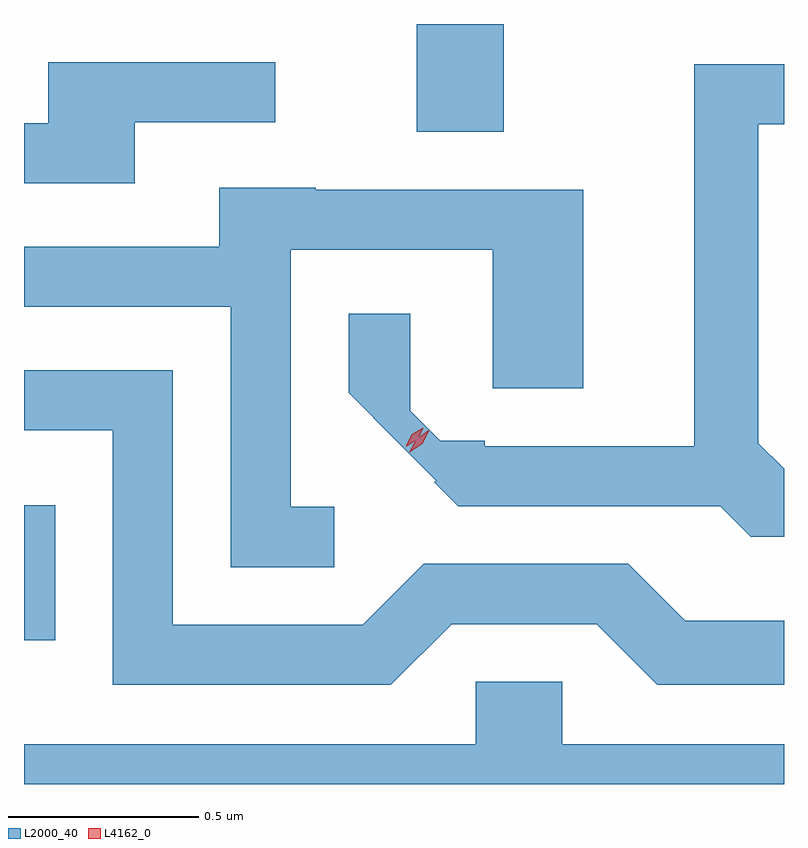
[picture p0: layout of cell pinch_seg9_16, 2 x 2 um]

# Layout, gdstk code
import gdstk
lib = gdstk.Library(unit=1e-6, precision=1e-09)
def R(c, l, rs):  # rectangles x0, y0, x1, y1
    for r in rs: c.add(gdstk.rectangle(r[:2], r[2:], *l))
def P(c, l, *ps):  # polygons
    for p in ps: c.add(gdstk.Polygon(p, *l))
L2000_40 = (2000, 40)
L4162_0 = (4162, 0)

pinch_seg9_16 = lib.new_cell('pinch_seg9_16')
R(pinch_seg9_16, L2000_40, [(1909.237,2003.458,1909.319,2003.814), (1910.271,2004.796,1910.499,2005.08)])
P(pinch_seg9_16, L2000_40, [(1909.529,2004.821),(1909.898,2004.821),(1909.898,2004.979),(1909.301,2004.979),(1909.301,2004.819),(1909.237,2004.819),(1909.237,2004.661),(1909.529,2004.661)],
  [(1911.237,2003.909),(1911.169,2003.977),(1911.169,2004.816),(1911.237,2004.816),(1911.237,2004.974),(1911.001,2004.974),(1911.001,2003.969),(1910.45,2003.969),(1910.45,2003.983),(1910.333,2003.983),(1910.254,2004.062),(1910.254,2004.318),(1910.091,2004.318),(1910.091,2004.11),(1910.159,2004.042),(1910.158,2004.042),(1910.322,2003.878),(1910.317,2003.874),(1910.38,2003.811),(1911.069,2003.811),(1911.149,2003.731),(1911.237,2003.731)],
  [(1910.053,2003.809),(1909.939,2003.809),(1909.939,2004.486),(1910.471,2004.486),(1910.471,2004.121),(1910.709,2004.121),(1910.709,2004.644),(1910.005,2004.644),(1910.005,2004.649),(1909.751,2004.649),(1909.751,2004.494),(1909.237,2004.494),(1909.237,2004.336),(1909.781,2004.336),(1909.781,2003.651),(1910.053,2003.651)],
  [(1910.362,2003.501),(1910.744,2003.501),(1910.904,2003.341),(1911.237,2003.341),(1911.237,2003.509),(1910.977,2003.509),(1910.827,2003.659),(1910.289,2003.659),(1910.129,2003.499),(1909.629,2003.499),(1909.629,2004.169),(1909.237,2004.169),(1909.237,2004.011),(1909.471,2004.011),(1909.471,2003.341),(1910.202,2003.341)],
  [(1911.237,2003.184),(1910.654,2003.184),(1910.654,2003.349),(1910.426,2003.349),(1910.426,2003.184),(1909.237,2003.184),(1909.237,2003.08),(1911.237,2003.08)])
P(pinch_seg9_16, L4162_0, [(1910.251,2003.953),(1910.251,2003.953),(1910.27,2003.989),(1910.303,2004.012),(1910.304,2004.012),(1910.304,2004.011),(1910.285,2003.976),(1910.252,2003.953)],
  [(1910.243,2003.969),(1910.243,2003.97),(1910.258,2004),(1910.287,2004.018),(1910.288,2004.018),(1910.288,2004.017),(1910.273,2003.987),(1910.244,2003.969)])

lib.write_gds('pinch_seg9_16.gds')
